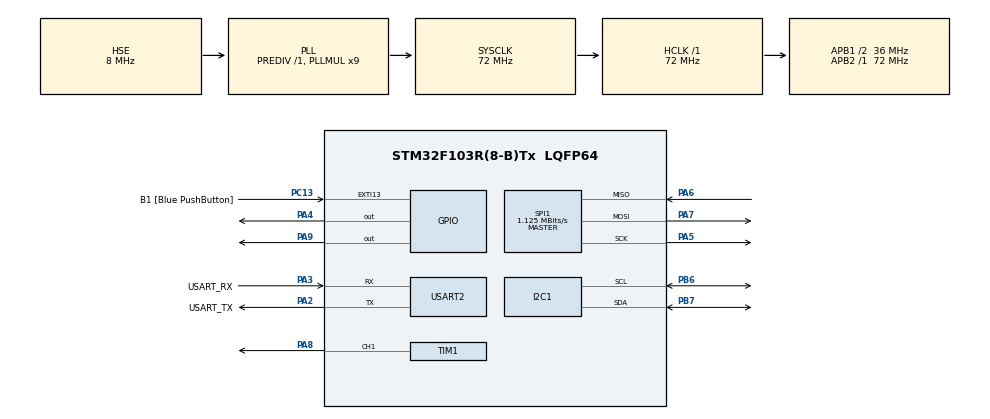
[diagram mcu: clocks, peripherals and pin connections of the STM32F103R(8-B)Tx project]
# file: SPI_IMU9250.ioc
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I2C1.I2C_Mode=I2C_Fast
Mcu.Family=STM32F1
Mcu.Name=STM32F103R(8-B)Tx
Mcu.Package=LQFP64
NVIC.EXTI15_10_IRQn=true\:0\:0\:false\:false\:true\:true\:true\:true
NVIC.PriorityGroup=NVIC_PRIORITYGROUP_4
PA13.GPIO_Label=TMS
PA13.Mode=Serial_Wire
PA13.Signal=SYS_JTMS-SWDIO
PA14.GPIO_Label=TCK
PA14.Mode=Serial_Wire
PA14.Signal=SYS_JTCK-SWCLK
PA2.GPIO_Label=USART_TX
PA2.GPIO_Mode=GPIO_MODE_AF_PP
PA2.GPIO_PuPd=GPIO_NOPULL
PA2.GPIO_Speed=GPIO_SPEED_FREQ_LOW
PA2.Mode=Asynchronous
PA2.Signal=USART2_TX
PA3.GPIO_Label=USART_RX
PA3.GPIO_Mode=GPIO_MODE_AF_PP
PA3.GPIO_PuPd=GPIO_NOPULL
PA3.GPIO_Speed=GPIO_SPEED_FREQ_LOW
PA3.Mode=Asynchronous
PA3.Signal=USART2_RX
PA4.Signal=GPIO_Output
PA5.Mode=Full_Duplex_Master
PA5.Signal=SPI1_SCK
PA6.Mode=Full_Duplex_Master
PA6.Signal=SPI1_MISO
PA7.Mode=Full_Duplex_Master
PA7.Signal=SPI1_MOSI
PA8.Signal=S_TIM1_CH1
PA9.Signal=GPIO_Output
PB3.GPIO_Label=SWO
PB3.Signal=SYS_JTDO-TRACESWO
PB6.Mode=I2C
PB6.Signal=I2C1_SCL
PB7.Mode=I2C
PB7.Signal=I2C1_SDA
PC13-TAMPER-RTC.GPIO_Label=B1 [Blue PushButton]
PC13-TAMPER-RTC.GPIO_PuPd=GPIO_NOPULL
PC13-TAMPER-RTC.Signal=GPXTI13
PC14-OSC32_IN.Mode=LSE-External-Oscillator
PC14-OSC32_IN.Signal=RCC_OSC32_IN
PC15-OSC32_OUT.Mode=LSE-External-Oscillator
PC15-OSC32_OUT.Signal=RCC_OSC32_OUT
PD0-OSC_IN.Mode=HSE-External-Clock-Source
PD0-OSC_IN.Signal=RCC_OSC_IN
PD1-OSC_OUT.Mode=HSE-External-Clock-Source
PD1-OSC_OUT.Signal=RCC_OSC_OUT
ProjectManager.HeapSize=0x200
ProjectManager.StackSize=0x400
ProjectManager.TargetToolchain=STM32CubeIDE
RCC.AHBFreq_Value=72000000
RCC.APB1CLKDivider=RCC_HCLK_DIV2
RCC.APB1Freq_Value=36000000
RCC.APB1TimFreq_Value=72000000
RCC.APB2Freq_Value=72000000
RCC.APB2TimFreq_Value=72000000
RCC.HCLKFreq_Value=72000000
RCC.PLLMUL=RCC_PLL_MUL9
RCC.PLLSourceVirtual=RCC_PLLSOURCE_HSE
RCC.RTCClockSelection=RCC_RTCCLKSOURCE_LSE
RCC.SYSCLKFreq_VALUE=72000000
RCC.SYSCLKSource=RCC_SYSCLKSOURCE_PLLCLK
RCC.USBFreq_Value=72000000
SH.S_TIM1_CH1.0=TIM1_CH1,PWM Generation1 CH1
SPI1.BaudRatePrescaler=SPI_BAUDRATEPRESCALER_64
SPI1.CLKPhase=SPI_PHASE_2EDGE
SPI1.CLKPolarity=SPI_POLARITY_HIGH
SPI1.CalculateBaudRate=1.125 MBits/s
SPI1.Direction=SPI_DIRECTION_2LINES
SPI1.Mode=SPI_MODE_MASTER
SPI1.VirtualType=VM_MASTER
TIM1.Channel-PWM\ Generation1\ CH1=TIM_CHANNEL_1
TIM1.Period=999
TIM1.Prescaler=71
USART2.VirtualMode=VM_ASYNC
board=NUCLEO-F103RB

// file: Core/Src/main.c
/* USER CODE BEGIN Header */
/* USER CODE END Header */
#include "main.h"

/* USER CODE BEGIN Includes */
#include "mpu.h"
#include "config.h"
#include <stdio.h>
/* USER CODE END Includes */

I2C_HandleTypeDef hi2c1;

SPI_HandleTypeDef hspi1;

TIM_HandleTypeDef htim1;

UART_HandleTypeDef huart2;

void SystemClock_Config(void);
static void MX_GPIO_Init(void);
static void MX_USART2_UART_Init(void);
static void MX_SPI1_Init(void);
static void MX_TIM1_Init(void);
static void MX_I2C1_Init(void);

int main(void)
{

  /* USER CODE BEGIN 1 */
	uint8_t mess[50]="0";
  /* USER CODE END 1 */

  /* MCU Configuration--------------------------------------------------------*/

  /* Reset of all peripherals, Initializes the Flash interface and the Systick. */
  HAL_Init();

  /* Configure the system clock */
  SystemClock_Config();

  /* Initialize all configured peripherals */
  MX_GPIO_Init();
  MX_USART2_UART_Init();
  MX_SPI1_Init();
  MX_TIM1_Init();
  MX_I2C1_Init();
  /* USER CODE BEGIN 2 */

//  IMU9250_InitI2CMaster(&hspi1);
//  AK8963_Init(&hspi1);
  int16_t x[1],y[1],z[1];
  float x1[1],y1[1],z1[1];
  x1[0]=0;
  y1[0]=0;
  x1[0]=0;
  MPU9250_Init();
//  IMU9250_SetGyroOffset(0,0,0,&hspi1);
//  /* USER CODE END 2 */
//  IMU9250_CalculateGyroOffset(x,y,z,&hspi1);
//  HMC5883_ConfigRate(S8SAMPLE_AVER, 0x14, &hi2c1);
//  HMC5883_SetMode(CONS_MEAS_MODE, &hi2c1);
//  IMU9250_SetDLPFGyro(LPF_GYRO250Hz,&hspi1);
//  uint32_t prevTime = HAL_GetTick();
  /* Infinite loop */

  /* USER CODE BEGIN WHILE */
  while(1)
  {
//	  int16_t x1,y1,z1;
//	  x1=IMU9250_ReadGyroRaw('X', &hspi1);
//	  y1=IMU9250_ReadGyroRaw('Y', &hspi1);
//	  z1=IMU9250_ReadGyroRaw('Z', &hspi1);
	  int16_t AccData[3], GyroData[3], MagData[3];
	  MPU9250_GetData(AccData, GyroData, MagData);

	  printf("%08d;%08d;%08d;%08d;%08d;%08d;%08d;%08d;%08d\n",
	    (int16_t)AccData[0], (int16_t)AccData[1], (int16_t)AccData[2],
	    (int16_t)GyroData[0], (int16_t)GyroData[1], (int16_t)GyroData[2],
	    (int16_t)MagData[0], (int16_t)MagData[1], (int16_t)MagData[2]);
//	  HMC5883_ReadAllData(x,y,z,&hi2c1);
//
//	  sprintf((char*)mess,"X %d  Y%d  Z%d \n\r",(int)(x1-x[0])/130,(int)(y1-y[0])/130,(int)(z1-z[0])/130);
//	  HAL_UART_Transmit(&huart2, mess, 20, 100);
//	  HAL_Delay(100);
//	  uint32_t currentTime = HAL_GetTick();
//	  float deltaTime = (currentTime - prevTime) / 1000.0f; // Đổi sang giây
//	  prevTime = currentTime;
//	  UpdateAngles(x,y,z,x1,y1,z1, deltaTime,&hspi1);
	  sprintf((char*)mess, "%08d;%08d;%08d;%08d;%08d;%08d;%08d;%08d;%08d\n",
			    (int16_t)AccData[0], (int16_t)AccData[1], (int16_t)AccData[2],
			    (int16_t)GyroData[0], (int16_t)GyroData[1], (int16_t)GyroData[2],
			    (int16_t)MagData[0], (int16_t)MagData[1], (int16_t)MagData[2]);
	  HAL_UART_Transmit(&huart2, mess,50, 100);
	  HAL_Delay(500);
    /* USER CODE END WHILE */
  }
}

void SystemClock_Config(void)
{
  RCC_OscInitTypeDef RCC_OscInitStruct = {0};
  RCC_ClkInitTypeDef RCC_ClkInitStruct = {0};

  /** Initializes the RCC Oscillators according to the specified parameters
  * in the RCC_OscInitTypeDef structure.
  */
  RCC_OscInitStruct.OscillatorType = RCC_OSCILLATORTYPE_HSE;
  RCC_OscInitStruct.HSEState = RCC_HSE_BYPASS;
  RCC_OscInitStruct.HSEPredivValue = RCC_HSE_PREDIV_DIV1;
  RCC_OscInitStruct.HSIState = RCC_HSI_ON;
  RCC_OscInitStruct.PLL.PLLState = RCC_PLL_ON;
  RCC_OscInitStruct.PLL.PLLSource = RCC_PLLSOURCE_HSE;
  RCC_OscInitStruct.PLL.PLLMUL = RCC_PLL_MUL9;
  if (HAL_RCC_OscConfig(&RCC_OscInitStruct) != HAL_OK)
  {
    Error_Handler();
  }

  /** Initializes the CPU, AHB and APB buses clocks
  */
  RCC_ClkInitStruct.ClockType = RCC_CLOCKTYPE_HCLK|RCC_CLOCKTYPE_SYSCLK
                              |RCC_CLOCKTYPE_PCLK1|RCC_CLOCKTYPE_PCLK2;
  RCC_ClkInitStruct.SYSCLKSource = RCC_SYSCLKSOURCE_PLLCLK;
  RCC_ClkInitStruct.AHBCLKDivider = RCC_SYSCLK_DIV1;
  RCC_ClkInitStruct.APB1CLKDivider = RCC_HCLK_DIV2;
  RCC_ClkInitStruct.APB2CLKDivider = RCC_HCLK_DIV1;

  if (HAL_RCC_ClockConfig(&RCC_ClkInitStruct, FLASH_LATENCY_2) != HAL_OK)
  {
    Error_Handler();
  }
}

static void MX_I2C1_Init(void)
{

  hi2c1.Instance = I2C1;
  hi2c1.Init.ClockSpeed = 100000;
  hi2c1.Init.DutyCycle = I2C_DUTYCYCLE_2;
  hi2c1.Init.OwnAddress1 = 0;
  hi2c1.Init.AddressingMode = I2C_ADDRESSINGMODE_7BIT;
  hi2c1.Init.DualAddressMode = I2C_DUALADDRESS_DISABLE;
  hi2c1.Init.OwnAddress2 = 0;
  hi2c1.Init.GeneralCallMode = I2C_GENERALCALL_DISABLE;
  hi2c1.Init.NoStretchMode = I2C_NOSTRETCH_DISABLE;
  if (HAL_I2C_Init(&hi2c1) != HAL_OK)
  {
    Error_Handler();
  }

}

static void MX_SPI1_Init(void)
{

  /* SPI1 parameter configuration*/
  hspi1.Instance = SPI1;
  hspi1.Init.Mode = SPI_MODE_MASTER;
  hspi1.Init.Direction = SPI_DIRECTION_2LINES;
  hspi1.Init.DataSize = SPI_DATASIZE_8BIT;
  hspi1.Init.CLKPolarity = SPI_POLARITY_HIGH;
  hspi1.Init.CLKPhase = SPI_PHASE_2EDGE;
  hspi1.Init.NSS = SPI_NSS_SOFT;
  hspi1.Init.BaudRatePrescaler = SPI_BAUDRATEPRESCALER_64;
  hspi1.Init.FirstBit = SPI_FIRSTBIT_MSB;
  hspi1.Init.TIMode = SPI_TIMODE_DISABLE;
  hspi1.Init.CRCCalculation = SPI_CRCCALCULATION_DISABLE;
  hspi1.Init.CRCPolynomial = 10;
  if (HAL_SPI_Init(&hspi1) != HAL_OK)
  {
    Error_Handler();
  }

}

static void MX_TIM1_Init(void)
{

  TIM_MasterConfigTypeDef sMasterConfig = {0};
  TIM_OC_InitTypeDef sConfigOC = {0};
  TIM_BreakDeadTimeConfigTypeDef sBreakDeadTimeConfig = {0};

  htim1.Instance = TIM1;
  htim1.Init.Prescaler = 71;
  htim1.Init.CounterMode = TIM_COUNTERMODE_UP;
  htim1.Init.Period = 999;
  htim1.Init.ClockDivision = TIM_CLOCKDIVISION_DIV1;
  htim1.Init.RepetitionCounter = 0;
  htim1.Init.AutoReloadPreload = TIM_AUTORELOAD_PRELOAD_DISABLE;
  if (HAL_TIM_PWM_Init(&htim1) != HAL_OK)
  {
    Error_Handler();
  }
  sMasterConfig.MasterOutputTrigger = TIM_TRGO_RESET;
  sMasterConfig.MasterSlaveMode = TIM_MASTERSLAVEMODE_DISABLE;
  if (HAL_TIMEx_MasterConfigSynchronization(&htim1, &sMasterConfig) != HAL_OK)
  {
    Error_Handler();
  }
  sConfigOC.OCMode = TIM_OCMODE_PWM1;
  sConfigOC.Pulse = 0;
  sConfigOC.OCPolarity = TIM_OCPOLARITY_HIGH;
  sConfigOC.OCNPolarity = TIM_OCNPOLARITY_HIGH;
  sConfigOC.OCFastMode = TIM_OCFAST_DISABLE;
  sConfigOC.OCIdleState = TIM_OCIDLESTATE_RESET;
  sConfigOC.OCNIdleState = TIM_OCNIDLESTATE_RESET;
  if (HAL_TIM_PWM_ConfigChannel(&htim1, &sConfigOC, TIM_CHANNEL_1) != HAL_OK)
  {
    Error_Handler();
  }
  sBreakDeadTimeConfig.OffStateRunMode = TIM_OSSR_DISABLE;
  sBreakDeadTimeConfig.OffStateIDLEMode = TIM_OSSI_DISABLE;
  sBreakDeadTimeConfig.LockLevel = TIM_LOCKLEVEL_OFF;
  sBreakDeadTimeConfig.DeadTime = 0;
  sBreakDeadTimeConfig.BreakState = TIM_BREAK_DISABLE;
  sBreakDeadTimeConfig.BreakPolarity = TIM_BREAKPOLARITY_HIGH;
  sBreakDeadTimeConfig.AutomaticOutput = TIM_AUTOMATICOUTPUT_DISABLE;
  if (HAL_TIMEx_ConfigBreakDeadTime(&htim1, &sBreakDeadTimeConfig) != HAL_OK)
  {
    Error_Handler();
  }
  HAL_TIM_MspPostInit(&htim1);

}

static void MX_USART2_UART_Init(void)
{

  huart2.Instance = USART2;
  huart2.Init.BaudRate = 115200;
  huart2.Init.WordLength = UART_WORDLENGTH_8B;
  huart2.Init.StopBits = UART_STOPBITS_1;
  huart2.Init.Parity = UART_PARITY_NONE;
  huart2.Init.Mode = UART_MODE_TX_RX;
  huart2.Init.HwFlowCtl = UART_HWCONTROL_NONE;
  huart2.Init.OverSampling = UART_OVERSAMPLING_16;
  if (HAL_UART_Init(&huart2) != HAL_OK)
  {
    Error_Handler();
  }

}

static void MX_GPIO_Init(void)
{
  GPIO_InitTypeDef GPIO_InitStruct = {0};

  /* GPIO Ports Clock Enable */
  __HAL_RCC_GPIOC_CLK_ENABLE();
  __HAL_RCC_GPIOD_CLK_ENABLE();
  __HAL_RCC_GPIOA_CLK_ENABLE();
  __HAL_RCC_GPIOB_CLK_ENABLE();

  /*Configure GPIO pin Output Level */
  HAL_GPIO_WritePin(GPIOA, GPIO_PIN_4|GPIO_PIN_9, GPIO_PIN_RESET);

  /*Configure GPIO pin : B1_Pin */
  GPIO_InitStruct.Pin = B1_Pin;
  GPIO_InitStruct.Mode = GPIO_MODE_IT_RISING;
  GPIO_InitStruct.Pull = GPIO_NOPULL;
  HAL_GPIO_Init(B1_GPIO_Port, &GPIO_InitStruct);

  /*Configure GPIO pins : PA4 PA9 */
  GPIO_InitStruct.Pin = GPIO_PIN_4|GPIO_PIN_9;
  GPIO_InitStruct.Mode = GPIO_MODE_OUTPUT_PP;
  GPIO_InitStruct.Pull = GPIO_NOPULL;
  GPIO_InitStruct.Speed = GPIO_SPEED_FREQ_LOW;
  HAL_GPIO_Init(GPIOA, &GPIO_InitStruct);

  /* EXTI interrupt init*/
  HAL_NVIC_SetPriority(EXTI15_10_IRQn, 0, 0);
  HAL_NVIC_EnableIRQ(EXTI15_10_IRQn);

}

void Error_Handler(void)
{
}
